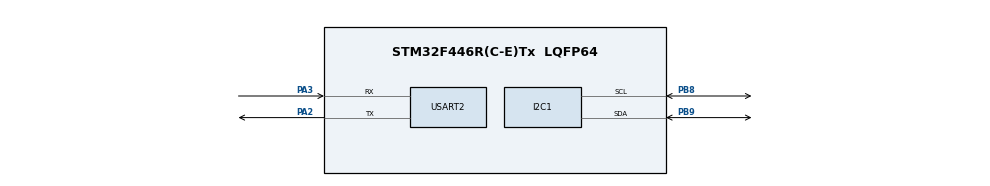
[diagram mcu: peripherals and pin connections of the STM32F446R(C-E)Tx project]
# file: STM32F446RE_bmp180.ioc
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Mcu.Family=STM32F4
RCC.CortexFreq_Value=16000000
ProjectManager.StackSize=0x400
PA3.Mode=Asynchronous
ProjectManager.TargetToolchain=STM32CubeIDE
PB9.Mode=I2C
RCC.USBFreq_Value=96000000
board=custom
RCC.VCOOutputFreq_Value=192000000
Mcu.Name=STM32F446R(C-E)Tx
PA2.Signal=USART2_TX
PB9.Signal=I2C1_SDA
Mcu.Package=LQFP64
USART2.VirtualMode=VM_ASYNC
ProjectManager.HeapSize=0x200
NVIC.PriorityGroup=NVIC_PRIORITYGROUP_4
PB8.Mode=I2C
PA2.Mode=Asynchronous
PB8.Signal=I2C1_SCL
PA3.Signal=USART2_RX

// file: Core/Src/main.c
/* USER CODE BEGIN Header */
/**
  ******************************************************************************
  * @file           : main.c
  * @brief          : Main program body
  ******************************************************************************
  * @attention
  *
  * <h2><center>&copy; Copyright (c) 2021 STMicroelectronics.
  * All rights reserved.</center></h2>
  *
  * This software component is licensed by ST under BSD 3-Clause license,
  * the "License"; You may not use this file except in compliance with the
  * License. You may obtain a copy of the License at:
  *                        opensource.org/licenses/BSD-3-Clause
  *
  ******************************************************************************
  */
/* USER CODE END Header */
#include "main.h"
#include "i2c.h"
#include "usart.h"
#include "gpio.h"

/* USER CODE BEGIN Includes */
#include "bmp180_for_stm32_hal.h"
#include "stdio.h"
#include "stdlib.h"
#include "string.h"
#include "math.h"
#include <stdbool.h>
/* USER CODE END Includes */

UART_HandleTypeDef huart2;

void SystemClock_Config(void);

int main(void)
{

  /* MCU Configuration--------------------------------------------------------*/

  /* Reset of all peripherals, Initializes the Flash interface and the Systick. */

 HAL_Init();

  /* Configure the system clock */
  SystemClock_Config();

  /* Initialize all configured peripherals */
  MX_GPIO_Init();
  MX_I2C1_Init();
  MX_USART2_UART_Init();
  /* USER CODE BEGIN 2 */
	/* Initializes BMP180 sensor and oversampling settings. */
	BMP180_Init(&hi2c1);
	BMP180_SetOversampling(BMP180_ULTRA);
	/* Update calibration data. Must be called once before entering main loop. */
	BMP180_UpdateCalibrationData();

	int32_t basePressure = BMP180_GetPressure();
  /* USER CODE END 2 */

  /* Infinite loop */
  /* USER CODE BEGIN WHILE */
  while (1)
  {
		float temperature = BMP180_GetRawTemperature();
		int32_t pressure = BMP180_GetPressure();

		float alt = irtifaHesapla(pressure, basePressure);

		char buffer[100];
		sprintf(buffer, "Temperature: %f deg C\nBase Pressure: %d m \nPressure: %d Pa\nAltitude: %.2f m\n", temperature / 10, basePressure, pressure, alt);
		HAL_UART_Transmit(&huart2, buffer, strlen(buffer), 1000);

    /* USER CODE END WHILE */

  }
}

void SystemClock_Config(void)
{
  RCC_OscInitTypeDef RCC_OscInitStruct = {0};
  RCC_ClkInitTypeDef RCC_ClkInitStruct = {0};

  /** Configure the main internal regulator output voltage
  */
  __HAL_RCC_PWR_CLK_ENABLE();
  __HAL_PWR_VOLTAGESCALING_CONFIG(PWR_REGULATOR_VOLTAGE_SCALE3);
  /** Initializes the RCC Oscillators according to the specified parameters
  * in the RCC_OscInitTypeDef structure.
  */
  RCC_OscInitStruct.OscillatorType = RCC_OSCILLATORTYPE_HSI;
  RCC_OscInitStruct.HSIState = RCC_HSI_ON;
  RCC_OscInitStruct.HSICalibrationValue = RCC_HSICALIBRATION_DEFAULT;
  RCC_OscInitStruct.PLL.PLLState = RCC_PLL_NONE;
  if (HAL_RCC_OscConfig(&RCC_OscInitStruct) != HAL_OK)
  {
    Error_Handler();
  }
  /** Initializes the CPU, AHB and APB buses clocks
  */
  RCC_ClkInitStruct.ClockType = RCC_CLOCKTYPE_HCLK|RCC_CLOCKTYPE_SYSCLK
                              |RCC_CLOCKTYPE_PCLK1|RCC_CLOCKTYPE_PCLK2;
  RCC_ClkInitStruct.SYSCLKSource = RCC_SYSCLKSOURCE_HSI;
  RCC_ClkInitStruct.AHBCLKDivider = RCC_SYSCLK_DIV1;
  RCC_ClkInitStruct.APB1CLKDivider = RCC_HCLK_DIV1;
  RCC_ClkInitStruct.APB2CLKDivider = RCC_HCLK_DIV1;

  if (HAL_RCC_ClockConfig(&RCC_ClkInitStruct, FLASH_LATENCY_0) != HAL_OK)
  {
    Error_Handler();
  }
}

void Error_Handler(void)
{
  __disable_irq();
  while (1)
  {
  }
}

/************************ (C) COPYRIGHT STMicroelectronics *****END OF FILE****/
